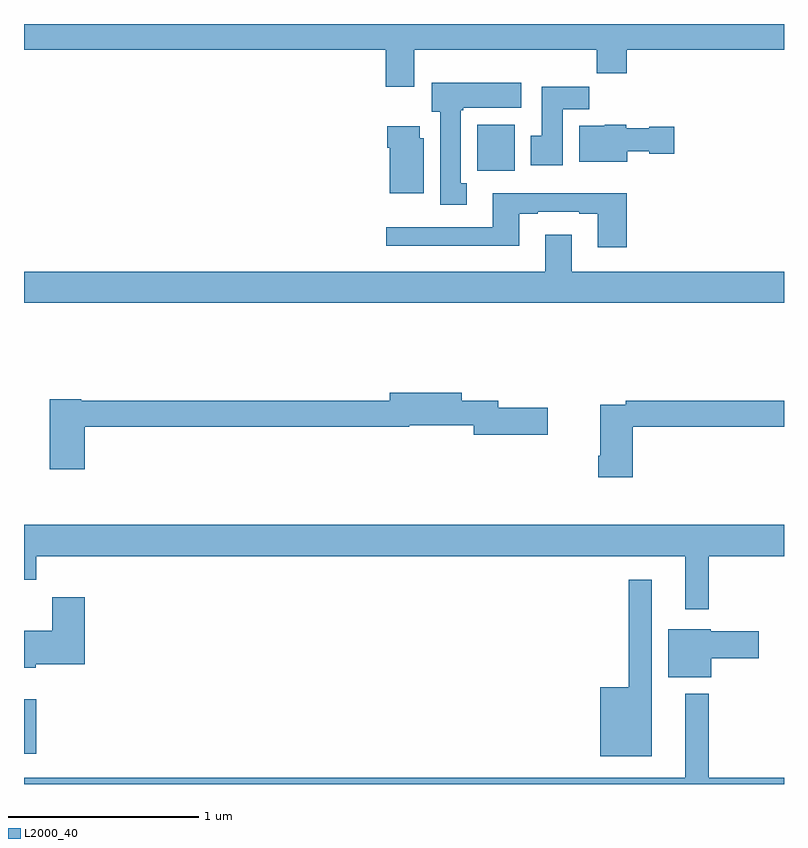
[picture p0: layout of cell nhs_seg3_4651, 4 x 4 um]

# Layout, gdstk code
import gdstk
lib = gdstk.Library(unit=1e-6, precision=1e-09)
def R(c, l, rs):  # rectangles x0, y0, x1, y1
    for r in rs: c.add(gdstk.rectangle(r[:2], r[2:], *l))
def P(c, l, *ps):  # polygons
    for p in ps: c.add(gdstk.Polygon(p, *l))
L2000_40 = (2000, 40)

nhs_seg3_4651 = lib.new_cell('nhs_seg3_4651')
R(nhs_seg3_4651, L2000_40, [(361,682.56,361.064,682.846), (363.386,685.628,363.583,685.87)])
P(nhs_seg3_4651, L2000_40, [(363.055,686.264),(364.015,686.264),(364.015,686.14),(364.172,686.14),(364.172,686.264),(365,686.264),(365,686.4),(361,686.4),(361,686.264),(362.903,686.264),(362.903,686.07),(363.055,686.07)],
  [(363.331,685.562),(363.298,685.562),(363.298,685.945),(363.312,685.945),(363.312,685.958),(363.616,685.958),(363.616,686.092),(363.146,686.092),(363.146,685.938),(363.191,685.938),(363.191,685.449),(363.331,685.449)],
  [(363.835,685.952),(363.974,685.952),(363.974,686.071),(363.725,686.071),(363.725,685.812),(363.668,685.812),(363.668,685.656),(363.835,685.656)],
  [(364.174,685.73),(364.29,685.73),(364.29,685.718),(364.423,685.718),(364.423,685.86),(364.29,685.86),(364.29,685.852),(364.17,685.852),(364.17,685.87),(364.056,685.87),(364.056,685.864),(363.923,685.864),(363.923,685.676),(364.174,685.676)],
  [(363.103,685.8),(363.082,685.8),(363.082,685.861),(362.912,685.861),(362.912,685.748),(362.924,685.748),(362.924,685.508),(363.103,685.508)],
  [(364.172,685.51),(363.467,685.51),(363.467,685.329),(362.907,685.329),(362.907,685.232),(363.607,685.232),(363.607,685.401),(363.703,685.401),(363.703,685.413),(363.923,685.413),(363.923,685.401),(364.019,685.401),(364.019,685.224),(364.172,685.224)],
  [(365,685.096),(363.883,685.096),(363.883,685.291),(363.743,685.291),(363.743,685.096),(361,685.096),(361,684.932),(365,684.932)],
  [(361.319,684.28),(363.028,684.28),(363.028,684.287),(363.368,684.287),(363.368,684.238),(363.757,684.238),(363.757,684.38),(363.496,684.38),(363.496,684.416),(363.304,684.416),(363.304,684.459),(362.924,684.459),(362.924,684.416),(361.302,684.416),(361.302,684.424),(361.136,684.424),(361.136,684.057),(361.319,684.057)],
  [(364.205,684.28),(365,684.28),(365,684.416),(364.168,684.416),(364.168,684.396),(364.034,684.396),(364.034,684.127),(364.022,684.127),(364.022,684.015),(364.205,684.015)],
  [(364.603,683.6),(365,683.6),(365,683.764),(361,683.764),(361,683.476),(361.064,683.476),(361.064,683.6),(364.481,683.6),(364.481,683.319),(364.603,683.319)],
  [(364.303,683.476),(364.182,683.476),(364.182,682.909),(364.034,682.909),(364.034,682.547),(364.303,682.547)],
  [(361.062,683.03),(361.319,683.03),(361.319,683.383),(361.148,683.383),(361.148,683.206),(361,683.206),(361,683.012),(361.062,683.012)],
  [(364.618,683.063),(364.867,683.063),(364.867,683.205),(364.614,683.205),(364.614,683.215),(364.391,683.215),(364.391,682.961),(364.618,682.961)],
  [(361,682.4),(365,682.4),(365,682.432),(364.603,682.432),(364.603,682.876),(364.481,682.876),(364.481,682.432),(361,682.432)])

lib.write_gds('nhs_seg3_4651.gds')
